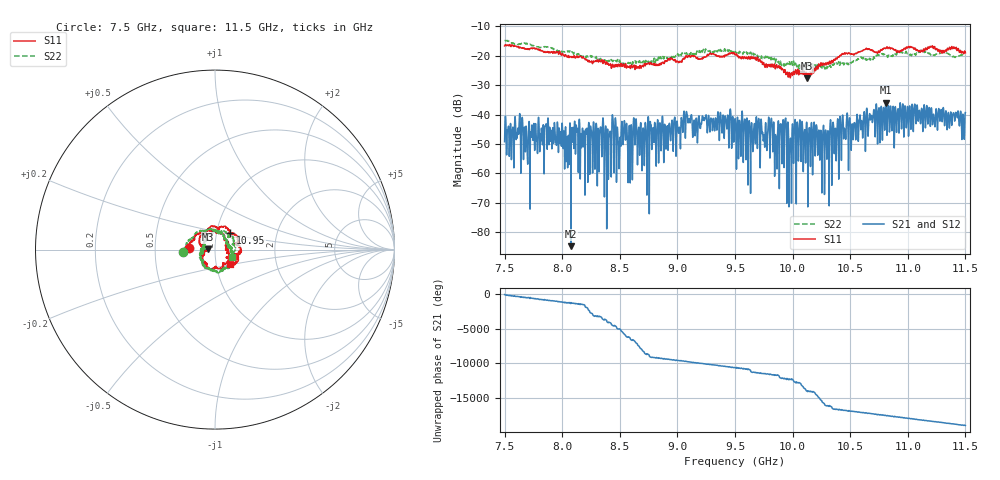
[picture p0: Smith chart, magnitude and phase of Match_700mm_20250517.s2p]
#  HZ  S  DB  R  50.00
! Rohde & Schwarz ZVA40 2Ports - Version 4.11 - 1145.1110k40 SN: 100216
! Date: 2025-05-18 21:07:34
! Measurements: S11 S21 S12 S22
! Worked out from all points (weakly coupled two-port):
!   5001 points, 7.5 GHz to 11.5 GHz, reference 50 ohm
!   highest |S21| = -35.97 dB at 10.81 GHz (marker M1); lowest = -84.7 dB at 8.075 GHz (marker M2)
!   lowest |S11| = -27.7 dB at 10.13 GHz (marker M3), VSWR 1.09, Z = 46.1 + j0.182 ohm
!   |S11| at or under -10 dB: start of sweep to end of sweep
!   |S22| runs from -25.3 to -14.8 dB; largest |S21 - S12| = 0.00018
!   S11 on the Smith chart (normalised r, x): 7.5 GHz: 0.74, +0.01; 10.95 GHz: 1.17, +0.22; 11.5 GHz: 1.16, -0.18
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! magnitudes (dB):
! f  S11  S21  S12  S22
! 7.5 GHz  -16.7  -49.2  -49.2  -14.9
! 8.075 GHz  -20.3  -84.7  -89.5  -19.0
! 8.167 GHz  -20.4  -51.2  -51.1  -20.1
! 8.342 GHz  -21.4  -51.1  -51.1  -21.5
! 8.383 GHz  -22.1  -50.6  -50.6  -21.8
! 8.449 GHz  -23.9  -54.2  -54.4  -21.6
! 8.49 GHz  -22.9  -51.6  -51.6  -22.2
! 8.531 GHz  -22.9  -48.0  -48.0  -22.7
! 8.591 GHz  -24.2  -58.2  -58.2  -22.5
! 8.632 GHz  -24.7  -50.0  -49.8  -21.8
! 8.834 GHz  -23.3  -46.5  -46.5  -20.8
! 9.094 GHz  -20.0  -42.2  -42.2  -19.1
! 9.5 GHz  -19.6  -41.4  -41.4  -18.6
! 9.847 GHz  -24.0  -50.5  -50.5  -22.0
! 9.929 GHz  -25.2  -47.8  -47.7  -23.1
! 9.988 GHz  -26.1  -55.3  -55.5  -21.8
! 10.13 GHz  -27.7  -46.1  -46.1  -24.2
! 10.17 GHz  -26.0  -44.7  -44.7  -23.9
! 10.81 GHz  -17.6  -36.0  -36.0  -19.7
! 10.83 GHz  -17.3  -37.3  -37.3  -19.8
! 10.95 GHz  -18.1  -42.3  -42.3  -18.7
! 11.5 GHz  -19.1  -39.3  -39.3  -19.7
